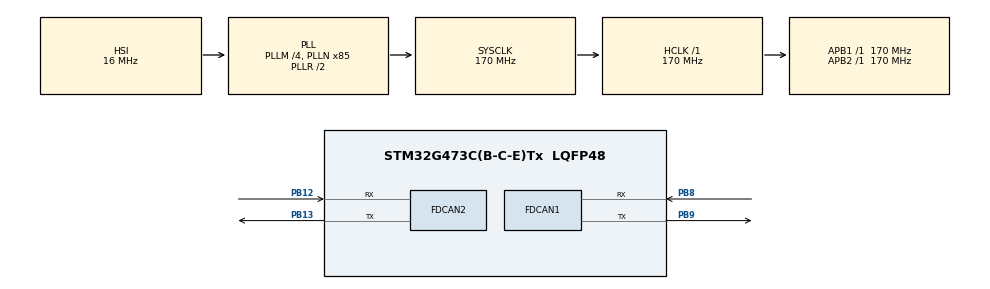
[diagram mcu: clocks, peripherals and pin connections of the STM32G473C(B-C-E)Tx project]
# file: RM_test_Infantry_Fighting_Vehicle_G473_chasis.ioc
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FDCAN1.CalculateBaudRateNominal=1000000
FDCAN1.CalculateTimeBitNominal=1000
FDCAN1.CalculateTimeQuantumNominal=100.0
FDCAN1.NominalPrescaler=17
FDCAN1.NominalTimeSeg1=3
FDCAN1.NominalTimeSeg2=6
FDCAN2.CalculateBaudRateNominal=1000000
FDCAN2.CalculateTimeBitNominal=1000
FDCAN2.CalculateTimeQuantumNominal=100.0
FDCAN2.NominalPrescaler=17
FDCAN2.NominalTimeSeg1=3
FDCAN2.NominalTimeSeg2=6
Mcu.Family=STM32G4
Mcu.Name=STM32G473C(B-C-E)Tx
Mcu.Package=LQFP48
NVIC.FDCAN1_IT0_IRQn=true\:0\:0\:false\:false\:true\:true\:true\:true
NVIC.FDCAN1_IT1_IRQn=true\:0\:0\:false\:false\:true\:true\:true\:true
NVIC.FDCAN2_IT0_IRQn=true\:0\:0\:false\:false\:true\:true\:true\:true
NVIC.FDCAN2_IT1_IRQn=true\:0\:0\:false\:false\:true\:true\:true\:true
NVIC.PriorityGroup=NVIC_PRIORITYGROUP_4
PA13.Mode=Serial_Wire
PA13.Signal=SYS_JTMS-SWDIO
PA14.Mode=Serial_Wire
PA14.Signal=SYS_JTCK-SWCLK
PB12.Mode=FDCAN_Activate
PB12.Signal=FDCAN2_RX
PB13.Mode=FDCAN_Activate
PB13.Signal=FDCAN2_TX
PB8-BOOT0.Mode=FDCAN_Activate
PB8-BOOT0.Signal=FDCAN1_RX
PB9.Mode=FDCAN_Activate
PB9.Signal=FDCAN1_TX
PF0-OSC_IN.Mode=HSE-External-Oscillator
PF0-OSC_IN.Signal=RCC_OSC_IN
PF1-OSC_OUT.Mode=HSE-External-Oscillator
PF1-OSC_OUT.Signal=RCC_OSC_OUT
ProjectManager.HeapSize=0x200
ProjectManager.StackSize=0x400
ProjectManager.TargetToolchain=MDK-ARM V5.32
RCC.ADC12Freq_Value=170000000
RCC.ADC345Freq_Value=170000000
RCC.AHBFreq_Value=170000000
RCC.APB1Freq_Value=170000000
RCC.APB1TimFreq_Value=170000000
RCC.APB2Freq_Value=170000000
RCC.APB2TimFreq_Value=170000000
RCC.CortexFreq_Value=170000000
RCC.EXTERNAL_CLOCK_VALUE=12288000
RCC.HCLKFreq_Value=170000000
RCC.HSE_VALUE=8000000
RCC.HSI48_VALUE=48000000
RCC.HSI_VALUE=16000000
RCC.LSE_VALUE=32768
RCC.PLLM=RCC_PLLM_DIV4
RCC.PLLN=85
RCC.SYSCLKFreq_VALUE=170000000
RCC.SYSCLKSource=RCC_SYSCLKSOURCE_PLLCLK
RCC.USBFreq_Value=170000000
RCC.VCOOutputFreq_Value=340000000
VP_SYS_VS_DBSignals.Mode=DisableDeadBatterySignals
board=custom

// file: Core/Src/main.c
/* USER CODE BEGIN Header */
/**
  ******************************************************************************
  * @file           : main.c
  * @brief          : Main program body
  ******************************************************************************
  * @attention
  *
  * Copyright (c) 2024 STMicroelectronics.
  * All rights reserved.
  *
  * This software is licensed under terms that can be found in the LICENSE file
  * in the root directory of this software component.
  * If no LICENSE file comes with this software, it is provided AS-IS.
  *
  ******************************************************************************
  */
/* USER CODE END Header */
#include "main.h"
#include "fdcan.h"
#include "gpio.h"

/* USER CODE BEGIN Includes */
#include "math.h"
#include "DR16.h"
#include "string.h"
#include "motor.h"
#include "motor_message.h"
/* USER CODE END Includes */

/* USER CODE BEGIN PD */
#define rxBufferLen 8

#define CAN_3508_M1_ID 0x201
#define CAN_3508_M2_ID 0x202
#define CAN_3508_M3_ID 0x203
#define CAN_3508_M4_ID 0x204
#define CAN_6020_M1_ID 0x205
#define CAN_6020_M2_ID 0x206
#define CAN_G473_gimbal 0x001

#define PI 3.14159265358979323846
/* USER CODE END PD */

/* USER CODE BEGIN PV */

char DR16Buffer[rxBufferLen] ;
Controller controller ;//DT7传过来的控制信息(all)
motor_tasks Motor_Tasks ;

/* USER CODE END PV */

void SystemClock_Config(void);

/* USER CODE BEGIN 0 */

void Init_can_filter() {

	FDCAN_FilterTypeDef FDCAN1_RXFilter;
	FDCAN1_RXFilter.IdType=FDCAN_STANDARD_ID;
	FDCAN1_RXFilter.FilterIndex=0;
	FDCAN1_RXFilter.FilterType=FDCAN_FILTER_MASK;
	FDCAN1_RXFilter.FilterConfig=FDCAN_FILTER_TO_RXFIFO0;
	FDCAN1_RXFilter.FilterID1=0x0000;
  FDCAN1_RXFilter.FilterID2=0x0000;
	HAL_FDCAN_ConfigFilter(&hfdcan1,&FDCAN1_RXFilter);
	HAL_FDCAN_Start(&hfdcan1);
  HAL_FDCAN_ActivateNotification(&hfdcan1,FDCAN_IT_RX_FIFO0_NEW_MESSAGE,0);

	FDCAN_FilterTypeDef FDCAN2_RXFilter;
	FDCAN2_RXFilter.IdType=FDCAN_STANDARD_ID;
	FDCAN2_RXFilter.FilterIndex=0;
	FDCAN2_RXFilter.FilterType=FDCAN_FILTER_MASK;
	FDCAN2_RXFilter.FilterConfig=FDCAN_FILTER_TO_RXFIFO0;
	FDCAN2_RXFilter.FilterID1=0x0000;
  FDCAN2_RXFilter.FilterID2=0x0000;
	HAL_FDCAN_ConfigFilter(&hfdcan2,&FDCAN2_RXFilter);
	HAL_FDCAN_Start(&hfdcan2);
  HAL_FDCAN_ActivateNotification(&hfdcan2,FDCAN_IT_RX_FIFO0_NEW_MESSAGE,0);

}

void Init_Motors() {

	Clear_Cascade_PID( &Motor_Tasks.gimbal_yaw_pid) ;//PID清理
	Init_Cascade_PID( &Motor_Tasks.gimbal_yaw_pid );//PID初始�?
	Motor_Tasks.gimbal_yaw_motor.ex_angle = 0 ;
	Motor_Tasks.gimbal_yaw_motor.ex_speed = 0 ;

	//底盘PID的初始化
	Init_chasis_PID(&Motor_Tasks.chasis_pid_1);
	Init_chasis_PID(&Motor_Tasks.chasis_pid_2);
	Init_chasis_PID(&Motor_Tasks.chasis_pid_3);
	Init_chasis_PID(&Motor_Tasks.chasis_pid_4);
	Init_follow_PID(&Motor_Tasks.follow_pid);
}

void get_gimbal_angle(motor_tasks* mt , uint8_t* rxData );
void get_gimbal_chasis_angle_gap( motor_tasks* mt , uint8_t* rxData );
int flag = 0 ;
void HAL_FDCAN_RxFifo0Callback(FDCAN_HandleTypeDef *hfdcan , uint32_t RxFifo0ITs )  //FDCAN新消息中�?
{
    FDCAN_RxHeaderTypeDef rxHeader;

    // �? FIFO0 读取消息
	if(hfdcan == &hfdcan1 ) {

			int8_t rxData[8]; // 根据数据长度调整
			if (HAL_FDCAN_GetRxMessage(hfdcan, FDCAN_RX_FIFO0, &rxHeader, (uint8_t*)rxData) == HAL_OK)
			{
					// 处理接收到的数据
					// 例如，可以根�? rxHeader.ID 进行消息分类
				switch (rxHeader.Identifier ) {
					case CAN_3508_M1_ID :
					{
						fdcan_message_get(&Motor_Tasks.chasis_motor_1,(uint8_t*)rxData );
						break;
					}
					case CAN_3508_M2_ID :
					{
						fdcan_message_get(&Motor_Tasks.chasis_motor_2,(uint8_t*)rxData );
						break;
					}
					case CAN_3508_M3_ID :
					{
						fdcan_message_get(&Motor_Tasks.chasis_motor_3,(uint8_t*)rxData );
						break;
					}
					case CAN_3508_M4_ID :
					{
						fdcan_message_get(&Motor_Tasks.chasis_motor_4,(uint8_t*)rxData );
						break;
					}
					case CAN_6020_M1_ID :
					{

						fdcan_message_get(&Motor_Tasks.gimbal_yaw_motor,(uint8_t*)rxData );

						//获取底盘与云台相差角度
						get_gimbal_chasis_angle_gap( &Motor_Tasks , (uint8_t*)rxData );

						//获取初始角度
						if( !flag ) {
							Motor_Tasks.basic_yaw = 0 ;
							//Motor_Tasks.basic_yaw = (float)( (int16_t)(rxData[0]<<8)| (int16_t)rxData[1]) /(8191.0f)*2*(float)PI ;//换位弧度制
							//Motor_Tasks.basic_yaw -= (2*PI-4.13) ;//归零度角，安装时的零度角需要消除
							flag = 1 ;
						}
						break;
					}
					default:
					{
						break ;
					}
				}
			}
		}

	if( hfdcan == &hfdcan2 ) {
		int8_t rxData[rxBufferLen] ;
		memset(rxData,0,sizeof(rxData));
		if (HAL_FDCAN_GetRxMessage(hfdcan, FDCAN_RX_FIFO0, &rxHeader, (uint8_t*)rxData) == HAL_OK) {
			switch (rxHeader.Identifier ) {
				case CAN_G473_gimbal :
				{
					if(rxData[0] != -1 ) {
						DR16_command_process(&controller,(uint8_t*)rxData);//获取数据
						gimbal_control(&controller,&Motor_Tasks);//云台yaw轴期望值的改变
						chasis_moving_encoder(&Motor_Tasks,&controller);//底盘解算
					}
					else {
						get_gimbal_angle(&Motor_Tasks,(uint8_t*)rxData);//获取云台的yaw轴角度
					}
					break ;
				}
				default:
				{
					break ;
				}
			}
		}
	}

}

void get_gimbal_angle(motor_tasks* mt , uint8_t* rxData ) {
	mt->gimbal_yaw = (float) ((int32_t)(rxData[1]<<16)|(int32_t)(rxData[2]<<8)|(int32_t)(rxData[3]));
	mt->gimbal_yaw = mt->gimbal_yaw/10000.0f ;//弧度制
}

void get_gimbal_chasis_angle_gap( motor_tasks* mt , uint8_t* rxData ) {
	mt->c6020_yaw = (float)(( (int16_t)(rxData[0]<<8)| (int16_t)rxData[1]) -5400.0f) /(8191.0f)*(float)(2*PI) ;//角度制
	//mt->c6020_yaw -= (float )PI ;
	if( mt->c6020_yaw < 0 )
			mt->c6020_yaw += 2*PI ;
}

/* USER CODE END 0 */

int main(void)
{

  /* MCU Configuration--------------------------------------------------------*/

  /* Reset of all peripherals, Initializes the Flash interface and the Systick. */
  HAL_Init();

  /* Configure the system clock */
  SystemClock_Config();

  /* Initialize all configured peripherals */
  MX_GPIO_Init();
  MX_FDCAN1_Init();
  MX_FDCAN2_Init();
  /* USER CODE BEGIN 2 */
	Init_Motors();
	Init_can_filter();
  /* USER CODE END 2 */

  /* Infinite loop */
  /* USER CODE BEGIN WHILE */
  while (1)
  {
		Motor_PID_update(&Motor_Tasks);
		chasis_pid_excute(&Motor_Tasks);
		follow_pid_excute(&Motor_Tasks);
		gimbal_motor_pid_excute(&Motor_Tasks);

		chasis_motor_message_send(&hfdcan1,&Motor_Tasks);

		for(int i = 1 ; i <= 100000 ; ++ i );

		gimbal_motor_message_send(&hfdcan1,&Motor_Tasks);

		for(int i = 1 ; i <= 100000 ; ++ i );
    /* USER CODE END WHILE */

  }
}

void SystemClock_Config(void)
{
  RCC_OscInitTypeDef RCC_OscInitStruct = {0};
  RCC_ClkInitTypeDef RCC_ClkInitStruct = {0};

  /** Configure the main internal regulator output voltage
  */
  HAL_PWREx_ControlVoltageScaling(PWR_REGULATOR_VOLTAGE_SCALE1_BOOST);

  /** Initializes the RCC Oscillators according to the specified parameters
  * in the RCC_OscInitTypeDef structure.
  */
  RCC_OscInitStruct.OscillatorType = RCC_OSCILLATORTYPE_HSI;
  RCC_OscInitStruct.HSIState = RCC_HSI_ON;
  RCC_OscInitStruct.HSICalibrationValue = RCC_HSICALIBRATION_DEFAULT;
  RCC_OscInitStruct.PLL.PLLState = RCC_PLL_ON;
  RCC_OscInitStruct.PLL.PLLSource = RCC_PLLSOURCE_HSI;
  RCC_OscInitStruct.PLL.PLLM = RCC_PLLM_DIV4;
  RCC_OscInitStruct.PLL.PLLN = 85;
  RCC_OscInitStruct.PLL.PLLP = RCC_PLLP_DIV2;
  RCC_OscInitStruct.PLL.PLLQ = RCC_PLLQ_DIV2;
  RCC_OscInitStruct.PLL.PLLR = RCC_PLLR_DIV2;
  if (HAL_RCC_OscConfig(&RCC_OscInitStruct) != HAL_OK)
  {
    Error_Handler();
  }

  /** Initializes the CPU, AHB and APB buses clocks
  */
  RCC_ClkInitStruct.ClockType = RCC_CLOCKTYPE_HCLK|RCC_CLOCKTYPE_SYSCLK
                              |RCC_CLOCKTYPE_PCLK1|RCC_CLOCKTYPE_PCLK2;
  RCC_ClkInitStruct.SYSCLKSource = RCC_SYSCLKSOURCE_PLLCLK;
  RCC_ClkInitStruct.AHBCLKDivider = RCC_SYSCLK_DIV1;
  RCC_ClkInitStruct.APB1CLKDivider = RCC_HCLK_DIV1;
  RCC_ClkInitStruct.APB2CLKDivider = RCC_HCLK_DIV1;

  if (HAL_RCC_ClockConfig(&RCC_ClkInitStruct, FLASH_LATENCY_4) != HAL_OK)
  {
    Error_Handler();
  }
}

void Error_Handler(void)
{
  __disable_irq();
  while (1)
  {
  }
}
